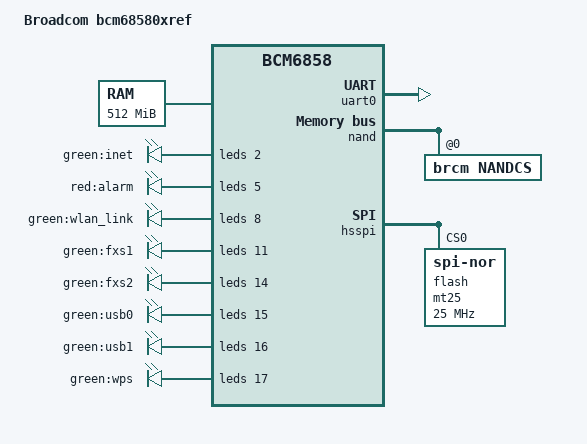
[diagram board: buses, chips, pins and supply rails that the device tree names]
// SPDX-License-Identifier: GPL-2.0+
/*
 * Copyright (C) 2018 Philippe Reynes <philippe.reynes@softathome.com>
 */

/dts-v1/;

#include "bcm6858.dtsi"

/ {
	model = "Broadcom bcm68580xref";
	compatible = "broadcom,bcm68580xref", "brcm,bcm6858";

	aliases {
		serial0 = &uart0;
	};

	chosen {
		stdout-path = "serial0:115200n8";
	};

	memory {
		device_type = "memory";
		reg = <0x0 0x0 0x0 0x20000000>;
	};
};

&uart0 {
	u-boot,dm-pre-reloc;
	status = "okay";
};

&nand {
	status = "okay";
	write-protect = <0>;
	#address-cells = <1>;
	#size-cells = <0>;

	nandcs@0 {
		compatible = "brcm,nandcs";
		reg = <0>;
		nand-ecc-strength = <4>;
		nand-ecc-step-size = <512>;
		brcm,nand-oob-sector-size = <16>;
	};
};

&leds {
	status = "okay";
	#address-cells = <1>;
	#size-cells = <0>;
	brcm,serial-led-en-pol;
	brcm,serial-led-data-ppol;

	led@2 {
		reg = <2>;
		label = "green:inet";
	};

	led@5 {
		reg = <5>;
		label = "red:alarm";
	};

	led@8 {
		reg = <8>;
		label = "green:wlan_link";
	};

	led@11 {
		reg = <11>;
		label = "green:fxs1";
	};

	led@14 {
		reg = <14>;
		label = "green:fxs2";
	};

	led@15 {
		reg = <15>;
		label = "green:usb0";
	};

	led@16 {
		reg = <16>;
		label = "green:usb1";
	};

	led@17 {
		reg = <17>;
		label = "green:wps";
	};
};

&hsspi {
	status = "okay";

	flash: mt25@0 {
		compatible = "jedec,spi-nor";
		#address-cells = <1>;
		#size-cells = <1>;
		reg = <0>;
		spi-max-frequency = <25000000>;
	};
};
